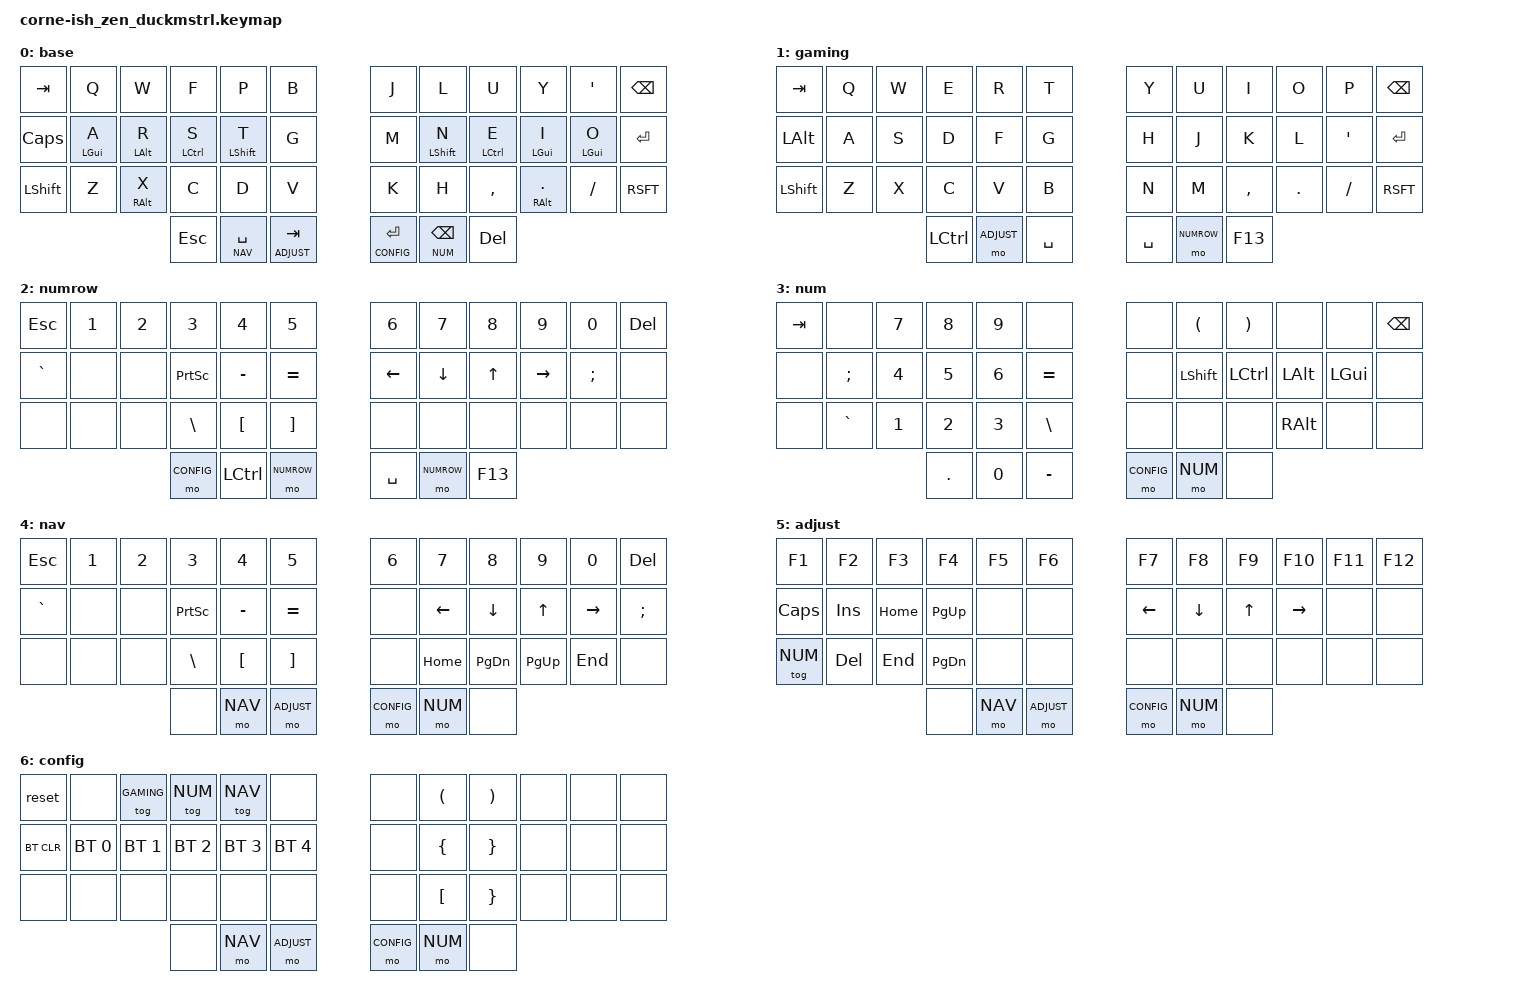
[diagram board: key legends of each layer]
/*
*
* Copyright (c) 2021 lowprokb.ca
* SPDX-License-Identifier: MIT
*
*/

#include <behaviors.dtsi>
#include <dt-bindings/zmk/keys.h>
#include <dt-bindings/zmk/bt.h>

#define BASE 0
#define GAMING 1
#define NUMROW 2
#define NUM    3
#define NAV    4
#define ADJUST 5
#define CONFIG 6

/ {
        behaviors {
            hm: homerow_mods {
                compatible = "zmk,behavior-hold-tap";
                label = "HOMEROW_MODS";
                #binding-cells = <2>;
                tapping-term-ms = <150>;
                quick_tap_ms = <0>;
                flavor = "tap-preferred";
                bindings = <&kp>, <&kp>;
            };
        };

        keymap {
                compatible = "zmk,keymap";

                default_layer {
                        label = " base";
                        bindings = <
   &kp TAB   &kp Q      &kp W      &kp F      &kp P       &kp B    &kp J &kp L       &kp U      &kp Y        &kp QUOT   &kp BKSP
   &kp CAPS  &hm LGUI A &hm LALT R &hm LCTL S &hm LSHFT T &kp G    &kp M &hm LSHFT N &hm LCTL E &hm LGUI I   &hm LGUI O &kp ENTER
   &kp LSHFT &kp Z      &hm RALT X &kp C      &kp D       &kp V    &kp K &kp H       &kp CMMA   &hm RALT DOT &kp FSLH   &kp RSFT
                             &kp ESC &lt NAV SPC &lt ADJUST TAB    &lt CONFIG ENTER &lt NUM BKSP &kp DEL
                        >;
                };

                gaming_layer {
                        label = "gaming";
                        bindings = <
   &kp TAB   &kp Q &kp W &kp E &kp R &kp T    &kp Y &kp U &kp I    &kp O   &kp P    &kp BKSP
   &kp LALT  &kp A &kp S &kp D &kp F &kp G    &kp H &kp J &kp K    &kp L   &kp QUOT &kp ENTER
   &kp LSHFT &kp Z &kp X &kp C &kp V &kp B    &kp N &kp M &kp CMMA &kp DOT &kp FSLH &kp RSFT
               &kp LCTL &mo ADJUST &kp SPC    &kp SPC &mo NUMROW &kp F13
                        >;
                };

                numrow_layer {
                        label = "numrow";
                        bindings = <
   &kp ESC   &kp N1 &kp N2 &kp N3    &kp N4    &kp N5       &kp N6   &kp N7   &kp N8 &kp N9    &kp N0   &kp DEL
   &kp GRAVE &none  &none  &kp PSCRN &kp MINUS &kp EQUAL    &kp LEFT &kp DOWN &kp UP &kp RIGHT &kp SEMI &none
   &none     &none  &none  &kp BSLH  &kp LBKT  &kp RBKT     &none    &none    &none  &none     &none    &none 
                          &mo CONFIG &kp LCTL &mo NUMROW    &kp SPC &mo NUMROW &kp F13
                        >;
                };

                num_layer {
                        label = " num";
                        bindings = <
   &kp TAB  &none     &kp N7 &kp N8 &kp N9 &none        &none &kp LPAR  &kp RPAR &none    &none    &kp BSPC
   &none    &kp SEMI  &kp N4 &kp N5 &kp N6 &kp EQUAL    &none &kp LSHFT &kp LCTL &kp LALT &kp LGUI &none
   &none    &kp GRAVE &kp N1 &kp N2 &kp N3 &kp BSLH     &none &none     &none    &kp RALT &none    &none
                            &kp DOT &kp N0 &kp MINUS    &mo CONFIG &mo NUM &none
                        >;
                };

                nav_layer {
                        label = " nav";
                        bindings = <
   &kp ESC   &kp N1 &kp N2 &kp N3    &kp N4    &kp N5       &kp N6   &kp N7   &kp N8 &kp N9    &kp N0    &kp DEL
   &kp GRAVE &none  &none  &kp PSCRN &kp MINUS &kp EQUAL    &none &kp LEFT &kp DOWN  &kp UP    &kp RIGHT &kp SEMI
   &none     &none  &none  &kp BSLH  &kp LBKT  &kp RBKT     &none &kp HOME &kp PG_DN &kp PG_UP &kp END   &none
                                &none &mo NAV &mo ADJUST    &mo CONFIG &mo NUM &none
                        >;
                };

                adjust_layer {
                        label = "adjust";
                        bindings = <
   &kp F1   &kp F2  &kp F3   &kp F4    &kp F5 &kp F6    &kp F7   &kp F8   &kp F9 &kp F10   &kp F11 &kp F12
   &kp CAPS &kp INS &kp HOME &kp PG_UP &none  &none     &kp LEFT &kp DOWN &kp UP &kp RIGHT &none   &none
   &tog NUM &kp DEL &kp END  &kp PG_DN &none  &none     &none    &none    &none  &none     &none   &none
                               &none &mo NAV &mo ADJUST    &mo CONFIG &mo NUM &none
                        >;
                };

                config_layer {
                        label = "config";
                        bindings = <
   &reset     &none        &tog GAMING  &tog NUM     &tog NAV     &none           &none &kp LPAR &kp RPAR &none &none &none
   &bt BT_CLR &bt BT_SEL 0 &bt BT_SEL 1 &bt BT_SEL 2 &bt BT_SEL 3 &bt BT_SEL 4    &none &kp LBRC &kp RBRC &none &none &none
   &none      &none        &none        &none        &none        &none           &none &kp LBKT &kp RBRC &none &none &none
                                                      &none &mo NAV &mo ADJUST    &mo CONFIG &mo NUM &none
                        >;
                };
        };
};
